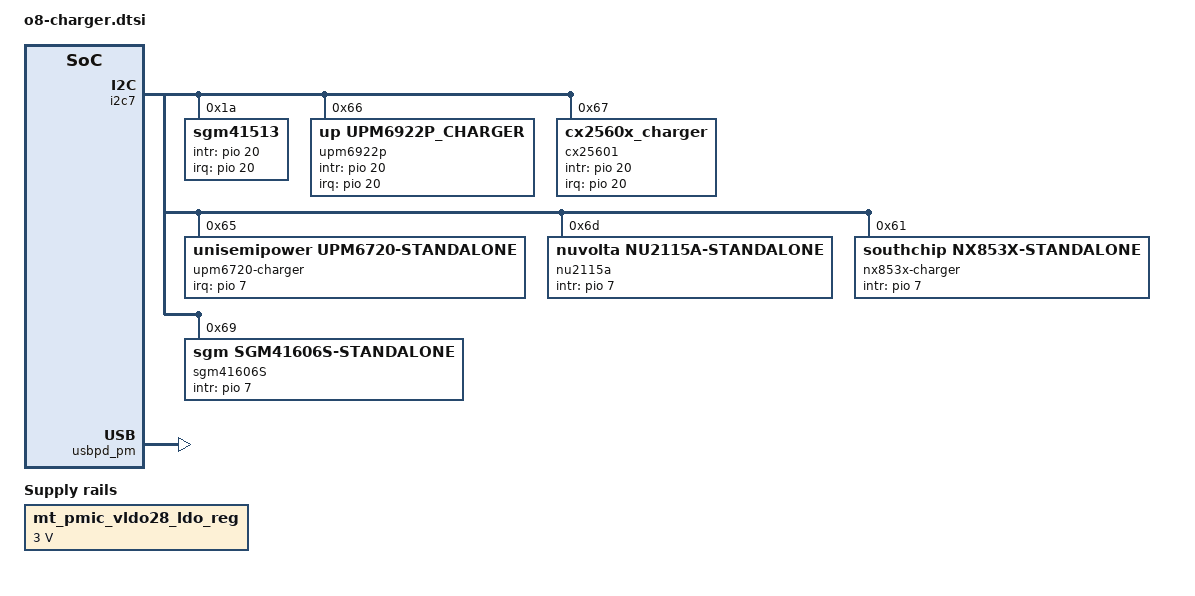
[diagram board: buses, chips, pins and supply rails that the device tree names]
/* AL6528A code for SR-AL6528A-01-307 by wenyaqi at 2022/08/30 start */
&i2c7 {
    sgm41513: sgm41513@1a {
        compatible = "sgm41513";
        reg = <0x1A>;
        status = "okay";

        interrupt-parent = <&pio>;
        interrupts = <20 IRQ_TYPE_EDGE_FALLING>;
        charger_name = "primary_chg";
        sgm,intr_gpio = <&pio 20 0x0>; /* GPIO */
        sgm,intr_gpio_num = <20>;

        sgm41513,charge-detect-enable;
        sgm41513,usb-vlim = <4600>;
        sgm41513,usb-ilim = <500>;
        sgm41513,usb-vreg = <4400>;
        sgm41513,usb-ichg = <500>;
        /* A06 code for SR-AL7160A-01-358 by zhangziyi at 20240409 start */
        sgm41513,precharge-current = <240>;
        sgm41513,termination-current = <240>;
        /* A06 code for SR-AL7160A-01-358 by zhangziyi at 20240409 end */
        /* hs14 code for AL6528A-341 by wenyaqi at 2022/10/20 start */
        sgm41513,boost-voltage = <5000>;
        /* hs14 code for AL6528A-341 by wenyaqi at 2022/10/20 end */
        sgm41513,boost-current = <1200>;
        sgm41513,enable_term;
        sgm41513,stat-pin-ctrl = <3>;
        /* hs14 code for SR-AL6528A-01-322 by wenyaqi at 2022/09/15 start */
        sgm41513,vac-ovp-threshold = <10500>;
        /* hs14 code for SR-AL6528A-01-322 by wenyaqi at 2022/09/15 end */
    };

    /* A06 code for SR-AL7160A-01-345 by zhangziyi at 20240325 start */
    upm6922p@66 {
        compatible = "up,upm6922p_charger";
        reg = <0x66>;
        status = "okay";

        interrupt-parent = <&pio>;
        interrupts = <20 IRQ_TYPE_EDGE_FALLING 123 0>;
        upm,intr_gpio = <&pio 20 0x0>; /* GPIO */
        upm,intr_gpio_num = <20>;
        charger_name = "primary_chg";

        upm,upm6922p,charge-detect-enable;

        upm,upm6922p,usb-vlim = <4600>;
        upm,upm6922p,usb-ilim = <500>;
        upm,upm6922p,usb-vreg = <4400>;
        upm,upm6922p,usb-ichg = <500>;
        /* A06 code for SR-AL7160A-01-358 by zhangziyi at 20240409 start */
        upm,upm6922p,precharge-current = <420>;
        upm,upm6922p,termination-current = <240>;
        /* A06 code for SR-AL7160A-01-358 by zhangziyi at 20240409 end */
        upm,upm6922p,boost-voltage = <5000>;
        upm,upm6922p,boost-current = <1200>;
        upm,upm6922p,enable_term;
        upm,upm6922p,stat-pin-ctrl = <3>;
        upm,upm6922p,vac-ovp-threshold = <10500>;
    };
    /* A06 code for SR-AL7160A-01-345 by zhangziyi at 20240325 end */
    /* A06 code for AL7160A-58 by zhangziyi at 20240415 start */
    cx25601: cx25601@67 {
        compatible = "cx2560x_charger";
        reg = <0x67>;
        status = "okay";

        interrupt-parent = <&pio>;
        interrupts = <20 IRQ_TYPE_EDGE_FALLING>;
        charger_name = "primary_chg";
        cx,intr_gpio = <&pio 20 0x0>; /* GPIO */
        cx,intr_gpio_num = <20>;

        /* A06 code for AL7160A-119 by liufurong at 20240425 start */
        cx2560x,charge-detect-enable;
        cx2560x,usb-vlim = <4600>;
        cx2560x,usb-ilim = <500>;
        cx2560x,usb-vreg = <4400>;
        cx2560x,usb-ichg = <500>;
        cx2560x,precharge-current = <260>;
        cx2560x,termination-current = <240>;
        cx2560x,boost-voltage = <5000>;
        cx2560x,boost-current = <1200>;
        cx2560x,stat-pin-ctrl = <0>;
        cx2560x,vac-ovp-threshold = <10500>;
        /* A06 code for AL7160A-119 by liufurong at 20240425 end */
    };
    /* A06 code for AL7160A-58 by zhangziyi at 20240415 end */
    /* A06 code for SR-AL7160A-01-348 by jiashixian at 20240326 start*/
    upm6720-charger@65{
        status = "okay";
        compatible = "unisemipower,upm6720-standalone";
        reg = <0x65>;		//I2C1 SENSOR_I2C
        upm6720,irq-gpio = <&pio 7 0>;
        upm6720,bat-ovp-disable = <0>;
        upm6720,bat-ocp-disable  = <0>;
        /* A06 code for AL7160A-1466 by liufurong at 20240525 start */
        // upm6720,bus-ucp-disable  = <0>;
        // upm6720,bus-rcp-disable  = <0>;
        /* A06 code for AL7160A-1466 by liufurong at 20240525 end */
        upm6720,vout-ovp-disable = <0>;
        upm6720,tdie-flt-disable;
        upm6720,tsbus-flt-disable;
        upm6720,tsbat-flt-disable;
        upm6720,wdt-disable;
        upm6720,vbus-errhi-disable;
        upm6720,bat-ovp-threshold = <4525>;			/* unit: 1mV */
        upm6720,bat-ocp-threshold = <8200>;			/* unit: 1mA */
        upm6720,bus-ovp-threshold = <11000>;		/* unit: 1mV */
        upm6720,bus-ocp-threshold = <5100>;			/* unit: 1mA */
        upm6720,bus-ucp-threshold = <250>;			/* unit: 1mA */
        upm6720,bus-rcp-threshold = <300>;			/* unit: 1mA */
        /* A06 code for AL7160A-1417 by jiashixian at 20240522 start*/
        upm6720,vac1-ovp-threshold = <12000>;		/* unit: 1mV */
        upm6720,vac2-ovp-threshold = <12000>;		/* unit: 1mV */
        /* A06 code for AL7160A-1417 by jiashixian at 20240522 end*/
        upm6720,vout-ovp-threshold = <5000>;		/* unit: 1mV */
        upm6720,tdie-flt-threshold = <140>;			/* unit: 1℃ */
        upm6720,tsbus-flt-threshold = <4102>;		/* unit: 0.001% */
        upm6720,tsbat-flt-threshold = <4102>;		/* unit: 0.001% */

        // upm6720,bat-ovp-mask;
        // upm6720,bat-ocp-mask;
        // upm6720,bus-ovp-mask;
        // upm6720,bus-ocp-mask;
        // upm6720,bus-ucp-mask;
        // upm6720,bus-rcp-mask;
        // upm6720,vout-ovp-mask;
        // upm6720,vac1-ovp-mask;
        // upm6720,vac2-ovp-mask;
        // upm6720,vout-present-mask;
        // upm6720,vac1-present-mask;
        // upm6720,vac2-present-mask;
        // upm6720,vbus-present-mask;
        // upm6720,acrb1-config-mask;
        // upm6720,acrb2-config-mask;
        // upm6720,cfly-short-mask;
        // upm6720,adc-done-mask;
        // upm6720,ss-timeout-mask;
        // upm6720,tsbus-flt-mask;
        // upm6720,tsbat-flt-mask;
        // upm6720,tdie-flt-mask;
        // upm6720,wd-mask;
        // upm6720,regn-good-mask;
        // upm6720,conv-active-mask;
        // upm6720,vbus-errhi-mask;
        // upm6720,bat-ovp-alm-disable;
        // upm6720,bat-ocp-alm-disable;
        // upm6720,bat-ucp-alm-disable;
        // upm6720,bus-ovp-alm-disable;
        // upm6720,tdie-alm-disable;
        upm6720,bat-ovp-alm-threshold = <4510>;		/* unit: 1mV */
        upm6720,bat-ocp-alm-threshold = <8000>;		/* unit: 1mA */
        upm6720,bat-ucp-alm-threshold = <0>;		/* unit: 1mA */
        upm6720,bus-ovp-alm-threshold = <11000>;	/* unit: 1mV */
        upm6720,bus-ocp-alm-threshold = <4000>;		/* unit: 1mA */
        upm6720,tdie-alm-threshold = <125>;			/* unit: 1℃ */
        // upm6720,bat-ovp-alm-mask;
        // upm6720,bat-ocp-alm-mask;
        // upm6720,bat-ucp-alm-mask;
        // upm6720,bus-ovp-alm-mask;
        // upm6720,bus-ocp-alm-mask;
        // upm6720,tsbus-tsbat-alm-mask;
        // upm6720,tdie-alm-mask;
        // upm6720,bus-pulldown-en;
        // upm6720,vac1-pulldown-en;
        // upm6720,vac2-pulldown-en;
        upm6720,sense-resistor-mohm = <5>;	/* unit: 1mohm */
        upm6720,ss-timeout = <10000>;		/* unit: 1ms */
        upm6720,wdt-set = <30000>;			/* unit: 1ms */
        upm6720,chg-config-1 = <1>;
        upm6720,fsw-set = <500>;
        upm6720,freq-shift = <0>;
        upm6720,ibus-ucp-fall-dg-sel = <0>;
        upm6720,adc-enable;
        upm6720,adc-rate = <0>;
        upm6720,adc-avg = <0>;
        upm6720,adc-avg-init = <0>;
        upm6720,adc-sample-bit = <0>;
        // upm6720,ibus-adc-disable;
        // upm6720,vbus-adc-disable;
        // upm6720,vac1-adc-disable;
        // upm6720,vac2-adc-disable;
        // upm6720,vout-adc-disable;
        // upm6720,vbat-adc-disable;
        // upm6720,ibat-adc-disable;
        // upm6720,tsbus-adc-disable;
        // upm6720,tsbat-adc-disable;
        // upm6720,tdie-adc-disable;
    };
    /* o8 code for SR-AL7160A-01-348 by jiashixian at 20240327 end*/
    /* o8 code for SR-AL7160A-01-349 by jiashixian at 20240328 start*/
    nu2115a@6d{
        compatible = "nuvolta,nu2115a-standalone";
        status = "okay";
        reg = <0x6d>;
        nu2115a,intr_gpio = <&pio 7 0>;
        nuvolta,nu2115a,bat-ovp-disable = <0>;
        nuvolta,nu2115a,bat-ocp-disable = <0>;
        nuvolta,nu2115a,bus-ocp-disable = <0>;
        nuvolta,nu2115a,bat-ovp-threshold = <4575>;
        nuvolta,nu2115a,bat-ocp-threshold = <8000>;
        nuvolta,nu2115a,bus-ovp-threshold = <11000>;
        nuvolta,nu2115a,bus-ovp-alarm-threshold = <11000>;
        nuvolta,nu2115a,bus-ocp-threshold = <4000>;
        nuvolta,nu2115a,bus-ocp-alarm-threshold = <3500>;
        nuvolta,nu2115a,ac-ovp-threshold = <11000>;
        nuvolta,nu2115a,sense-resistor-mohm = <5>;
    };
    /* o8 code for SR-AL7160A-01-349 by jiashixian at 20240328 end*/
    /*A06 code for SR-AL7160A-01-351 by shixuanxuan at 20240401 start*/
    nx853x-charger@61{
        compatible = "southchip,nx853x-standalone";
        reg = <0x61>;
        nx853x,intr_gpio = <&pio 7 0x0>; /* GPIO */
        charger_name = "primary_dvchg";
        charger_name_v4_19 = "primary_divider_chg";

        sc,nx853x,vbat-ovp-dis = <0>;
        sc,nx853x,vbat-ovp = <80>; /*3840 + val * 10*/
        sc,nx853x,ibat-ocp-dis = <0>;
        sc,nx853x,ibat-ocp = <82>; /*val * 100*/
        sc,nx853x,vbus-ovp-dis = <0>;
        sc,nx853x,vbus-ovp = <7>; /*9250 + val * 250*/
        sc,nx853x,vac-ovp-dis = <0>;
        sc,nx853x,vac-ovp = <1>; /*0:6.5V 1:11V 2:12V 3:13V 4:14V 5~7:15V*/
        sc,nx853x,ibus-ocp-dis = <0>;
        sc,nx853x,ibus-ocp = <100>; /*val * 50*/
        sc,nx853x,pmid2out-ovp-dis = <0>;
        /* A06 code for AL7160A-2699 by jiashixian at 20240607 start*/
        sc,nx853x,pmid2out-ovp = <7>; /*400 + val * 100*/
        /* A06 code for AL7160A-2699 by jiashixian at 20240607 end*/
        sc,nx853x,pmid2out-uvp-dis = <0>;
        /* A06 code for AL7160A-2699 by jiashixian at 20240607 start*/
        sc,nx853x,pmid2out-uvp = <7>; /*100 + val * 50*/
        /* A06 code for AL7160A-2699 by jiashixian at 20240607 end*/
        sc,nx853x,ibatreg = <0>; /*200 + val * 100*/
        sc,nx853x,ibusreg = <0>; /*100 + val * 50*/
        sc,nx853x,vbatreg = <0>; /*50 + val * 50*/
        sc,nx853x,tdiereg = <1>; /*0:90°C 1:100°C 2:110°C 3:120°C*/
        sc,nx853x,them-flt = <24>; /*val * 25*/
        sc,nx853x,ibat-sns-res = <1>; /*0:2hmo 1:5hmo*/
        sc,nx853x,pmid-pd-en = <0>;
        sc,nx853x,vbus-pd-en = <0>;
        sc,nx853x,work-mode = <0>; /*0: 2:1charge   1: 1:1charge 2: 1:2converte 3: 1:1converte*/
        sc,nx853x,ss-timeout = <7>; /*0:disable 1:10ms 2:20ms 3:400ms, 4:80ms 5:320ms 6:1.28s 7:10.24s*/
        sc,nx853x,wd-timeout-dis = <1>;
        sc,nx853x,wd-timeout = <0>; /*0:0.5s 1:1s 2:5s 3:30s*/
        sc,nx853x,vout-ovp-dis = <0>;
        sc,nx853x,vout-ovp = <3>; /*4700 + val * 100*/
        sc,nx853x,fsw-freq = <7>; /*500 + val * 100*/
        sc,nx853x,pin-diag-fall-dis = <0>;
        sc,nx853x,them-flt-dis = <1>;
        sc,nx853x,tshut-dis = <1>;
        sc,nx853x,vbus-in-range-dis = <0>;
        sc,nx853x,ibus-ucp-dis = <0>;
        sc,nx853x,ibat-reg-dis = <1>;
        sc,nx853x,ibus-reg-dis = <1>;
        sc,nx853x,vbat-reg-dis = <1>;
        sc,nx853x,tdie-reg-dis = <1>;
        sc,nx853x,ibat-ocp-dg = <0>; /*0:160us 1:80us 2:320us 3:5ms*/
        sc,nx853x,ibus-ucp-fall-dg = <1>; /*0:8us 1:5ms 2:40ms 3:160ms*/
        sc,nx853x,ibus-ocp-dg = <0>; /*0:160us 1:80us 2:320us 3:5ms*/
        sc,nx853x,vbat-ovp-dg = <0>; /*0:8us 1:160us 2:320us 3:5ms*/
    };
    /*A06 code for SR-AL7160A-01-351 by shixuanxuan at 20240401 end*/
    /* A06 code for SR-AL7160A-01-350 by jiashixian at 20240401 start */
    sgm41606S: sgm41606S@69 {
        status = "okay";
        compatible = "sgm,sgm41606S-standalone";
        reg = <0x69>;
        sgm41606S,intr_gpio = <&pio 7 0>;     //irq num base on hardware design
        sgm,sgm41606S,vbat-ovp-dis = <0>;
        sgm,sgm41606S,vbat-ovp = <105>; //3.5V+ BATOVP [6:0]*0.01V
        sgm,sgm41606S,vbat-ovp-alm = <105>; // 3.5V+BUSOVPALM[6:0]*0.01V  3.5V(0000000) – 4.77V(1111111)
        sgm,sgm41606S,ibat-ocp-dis = <0>;
        sgm,sgm41606S,ibat-ocp  = <81>; //BATOCP < 8.5A,[6:0]*0.1A;>8.5A,8.5A+(BATOCP[6:0]-1010101b) *0.3A
        sgm,sgm41606S,ibat-ocp_alm = <81>; //BATOCP_ALM[6:0]*0.1A
        //sgm,sgm41606S,vac-ovp-en = <0>;
        /* A06 code for AL7160A-1417 by jiashixian at 20240522 start*/
        sgm,sgm41606S,vac-ovp = <2>;//000 = 6.5V,001 = 10.5V,010 = 12V,011 = 14V,100 = 16V,101 = 18V
        sgm,sgm41606S,vac2-ovp = <2>;//000 = 6.5V,001 = 10.5V,010 = 12V,011 = 14V,100 = 16V,101 = 18V
        /* A06 code for AL7160A-1417 by jiashixian at 20240522 end*/
        //sgm,sgm41606S,vbus-ovp-en = <0>;
        sgm,sgm41606S,vbus-ovp = <80>; // 7V+BUSOVP[6:0]*0.05V  7V(0000000) – 12.75V(1110011)
        sgm,sgm41606S,vbus-ovp-alm = <80>; // 7V+BUSOVPALM[6:0]*0.05V  7V(0000000) – 12.75V(1110011)
        sgm,sgm41606S,tdie-flt-dis = <1>;
        /* A06 code for AL7160A-2699 by jiashixian at 20240607 start*/
        sgm,sgm41606S,vbus-ucp-dis = <0>;
        sgm,sgm41606S,vbus-ucp = <1>;
        sgm,sgm41606S,vbus-rcp-dis = <0>;
        /* A06 code for AL7160A-2699 by jiashixian at 20240607 end*/
        sgm,sgm41606S,vbus-high-dis = <1>;
        sgm,sgm41606S,ibus-ocp  = <14>; // 1A+BUSOCP[4:0]*0.25A ,1A (00000) – 6.5A (10110)
        sgm,sgm41606S,ibat-ucp-dis = <0>;
        sgm,sgm41606S,ibat-ucp-alm = <40>; /*0~4.5A,BATUCP_ALM[6:0]*0.05A*/
        sgm,sgm41606S,tsbus-flt-dis = <1>;/*0:enable 1:disable*/
        sgm,sgm41606S,tsbat-flt-dis = <1>;/*0:enable 1:disable*/
        sgm,sgm41606S,vbus-low-en = <1>;
        sgm,sgm41606S,vbus-high-en = <1>;

        sgm,sgm41606S,fsw-set = <2>;/*0:187.5kHz 1:250 2:300 3:375 4:500 5:750 6:1000 7:1500*/
        sgm,sgm41606S,wdt-dis = <1>;
        sgm,sgm41606S,wd-timeout = <3>; /*0:0.5s 1:1s 2:2s 3:5s 4:10s 5:20s 6:40s 7:80s*/
        sgm,sgm41606S,chg-en = <0>;
        sgm,sgm41606S,mode = <0>; /*0:off 1:bypass */
        sgm,sgm41606S,rsns = <1>; /*0:2mohm 1:5mohm*/
        sgm,sgm41606S,voutovp-dis = <1>;
        sgm,sgm41606S,enable-adc = <1>;/*0:disable 1:enable*/
        sgm,sgm41606S,enable-vac1-adc = <0>;/*0:enable 1:disable*/
    };
    /* A06 code for SR-AL7160A-01-350 by jiashixian at 20240401 end */
};
/* AL6528A code for SR-AL6528A-01-307 by wenyaqi at 2022/08/30 end */

/* hs14 code for AL6528ADEU-248 by wenyaqi at 2022/10/02 start */
&lk_charger {
    max_charger_voltage = <10400000>;
    ac_charger_input_current = <1500000>;

    /* hs14 code for SR-AL6528A-01-323 by gaozhengwei at 2022/10/26 start */
    /* battery temperature protection */
    temp_t4_threshold = <50>;
    temp_t3_threshold = <45>;
    temp_t2_threshold = <12>;
    temp_t1_threshold = <5>;
    temp_t0_threshold = <0>;
    /* hs14 code for SR-AL6528A-01-323 by gaozhengwei at 2022/10/26 end */
};
/* hs14 code for AL6528ADEU-248 by wenyaqi at 2022/10/02 end */

/* hs14 code for SR-AL6528A-01-322 by wenyaqi at 2022/09/15 start */
&charger {
    /* hs14 code for AL6528ADEU-580 by gaozhengwei at 2022/10/09 start */
    max_charger_voltage = <6300000>;
    hv_max_charger_voltage = <10400000>;
    charger_voltage_drop = <700000>;
    /* hs14 code for AL6528ADEU-580 by gaozhengwei at 2022/10/09 end */
    /* hs14 code for SR-AL6528A-01-322 by wenyaqi at 2022/09/20 start */
    pd_charger_current = <2700000>;
    pd_input_current = <1700000>;
    /* hs14 code for SR-AL6528A-01-322 by wenyaqi at 2022/09/20 end */
    pd_voltage_thr = <8000>;
    pd_vbus_upper_bound = <10000000>;

    /* hs14 code for SR-AL6528A-01-321 by gaozhengwei at 2022/09/22 start */
    /* AFC */
    enable_afc;

    afc_switch_gpio_num = <6>;
    afc_switch_gpio = <&pio 6 0x0>;
    afc_data_gpio_num = <5>;
    afc_data_gpio = <&pio 5 0x0>;
    pinctrl-names = "default", "active", "sleep";
    pinctrl-0 = <&afc_data_default>;
    pinctrl-1 = <&afc_data_active>;
    pinctrl-2 = <&afc_data_sleep>;

    afc_start_battery_soc = <0>;
    afc_stop_battery_soc = <95>;
    afc_pre_input_current = <500000>;
    afc_charger_input_current = <1700000>;
    /* A06 code for SR-AL7160A-01-358 by zhangziyi at 20240409 start */
    afc_charger_current = <3000000>;
    /* A06 code for SR-AL7160A-01-358 by zhangziyi at 20240409 end */
    afc_ichg_level_threshold = <1000000>;
    /* hs14 code for AL6528A-297 by gaozhengwei at 2022/10/13 start */
    afc_min_charger_voltage = <4600000>;
    /* hs14 code for AL6528A-297 by gaozhengwei at 2022/10/13 end */
    afc_max_charger_voltage = <10050000>;
    /* hs14 code for SR-AL6528A-01-321 by gaozhengwei at 2022/09/22 end */

    /* hs14 code for SR-AL6528A-01-323 by gaozhengwei at 2022/09/22 start */
    /* common */
    /* hs14_u code for AL6528AU-247 by liufurong at 2023/12/27 start */
    battery_cv = <4450000>;
    /* hs14_u code for AL6528AU-247 by liufurong at 2023/12/27 end */

    /* charging current */
    ac_charger_current = <2000000>;
    ac_charger_input_current = <1550000>;

    /* sw jeita */
    /* A06 code for SR-AL7160A-01-358 by zhangziyi at 20240409 start */
    enable_sw_jeita;
    /* A06 code for AL7160A-108 by jiashixian at 20240423 start */
    jeita_temp_above_t4_cv = <4250000>;
    jeita_temp_t3_to_t4_cv = <4250000>;
    /* A06 code for AL7160A-108 by jiashixian at 20240423 end */
    /* hs14_u code for AL6528AU-247 by liufurong at 2023/12/27 start */
    jeita_temp_t2_to_t3_cv = <4450000>;
    jeita_temp_t1_to_t2_cv = <4450000>;
    jeita_temp_t0_to_t1_cv = <4450000>;
    jeita_temp_below_t0_cv = <4450000>;
    /* hs14_u code for AL6528AU-247 by liufurong at 2023/12/27 end */
    jeita_temp_above_t4_cur = <0>;
    jeita_temp_t3_to_t4_cur = <3000000>;
    /* hs14 code for SR-AL6528A-01-322 by wenyaqi at 2022/09/23 start */
    jeita_temp_t2_to_t3_cur = <3000000>;
    /* hs14 code for SR-AL6528A-01-322 by wenyaqi at 2022/09/23 end */
    jeita_temp_t1_to_t2_cur = <1320000>;
    jeita_temp_t0_to_t1_cur = <420000>;
    jeita_temp_below_t0_cur = <0>;
    temp_t4_thres = <52>;
    temp_t4_thres_minus_x_degree = <50>;
    temp_t3_thres = <42>;
    temp_t3_thres_minus_x_degree = <40>;
    /* A06 code for AL7160A-120 by zhangziyi at 20240425 start */
    temp_t2_thres = <15>;
    temp_t2_thres_plus_x_degree = <17>;
    /* A06 code for AL7160A-120 by zhangziyi at 20240425 end */
    temp_t1_thres = <8>;
    temp_t1_thres_plus_x_degree = <10>;
    temp_t0_thres = <0>;
    /* hs14 code for  SR-AL6528A-01-338 by chengyuanhang at 2022/10/03 start */
    ss-batt-aging-enable;
    /* hs14_u code for AL6528AU-247 by liufurong at 2023/12/28 start */
    ss,cv-ranges = <0 199 4450000
                200 249 4430000
                250 299 4410000
                300 1000 4390000
                1001 9999 4340000>;
    /* hs14_u code for AL6528AU-247 by liufurong at 2023/12/28 end */
    /* hs14 code for SR-AL6528A-01-338 by chengyuanhang at 2022/10/03 end */
    temp_t0_thres_plus_x_degree = <2>;
    /* A06 code for SR-AL7160A-01-358 by zhangziyi at 20240409 end */
    temp_neg_10_thres = <0>;
    /* hs14 code for SR-AL6528A-01-323 by gaozhengwei at 2022/09/22 end */
};
/* hs14 code for SR-AL6528A-01-322 by wenyaqi at 2022/09/15 end */

/* hs14 code for SR-AL6528A-01-321 by gaozhengwei at 2022/09/22 start */
&pio {
    afc_data_default: afc_data_default {
        pins_cmd_dat {
            pinmux = <PINMUX_GPIO5__FUNC_GPIO5>;
            bias-disable;
        };
    };
    afc_data_active: afc_data_active {
        pins_cmd_dat {
            pinmux = <PINMUX_GPIO5__FUNC_GPIO5>;
            bias-disable;
        };
    };
    afc_data_sleep: afc_data_sleep {
        pins_cmd_dat {
            pinmux = <PINMUX_GPIO5__FUNC_GPIO5>;
            bias-disable;
            input-enable;
        };
    };
};
/* hs14 code for SR-AL6528A-01-321 by gaozhengwei at 2022/09/22 end */
/* o8 code for SR-AL7160A-01-348 by jiashixian at 20240327 start*/
/* A06 code for AL7160A-67 by jiashixian at 20240415 start */
/* A06 code for AL7160A-78 by jiashixian at 20240417 start */
/* A06 code for AL7160A-108 by jiashixian at 20240423 start */
&odm {
    usbpd_pm {
        compatible = "unisemipower,usbpd-pm";
        pd-bat-volt-max = <4450>;
        pd-bat-curr-max = <6000>;
        pd-bus-volt-max = <14500>;
        pd-bus-curr-max = <2770>;
        pd-fc2-taper-curr = <1500>;
        pd-fc2-one-step = <1>;
        pd-adapter-min-vol-required = <11000>;
        pd-adapter-min-curr-required = <2000>;
        pd-fc2-min-vbat-for-cp = <3300>;
        pd-fc2-second-cp-enable;
        pd-fc2-disable-sw;
    };
};
/* A06 code for AL7160A-108 by jiashixian at 20240423 end */
/* A06 code for AL7160A-78 by jiashixian at 20240417 end */
/* A06 code for AL7160A-67 by jiashixian at 20240415 end */
/* o8 code for SR-AL7160A-01-348 by jiashixian at 20240327 end*/
/* o8 code for SR-AL7160A-01-163 by jiashixian at 20240326 start*/
&mt_pmic_vldo28_ldo_reg {
    regulator-min-microvolt = <3000000>;
    regulator-max-microvolt = <3000000>;
    regulator-always-on;
};
/* o8 code for SR-AL7160A-01-163 by jiashixian at 20240326 end*/
